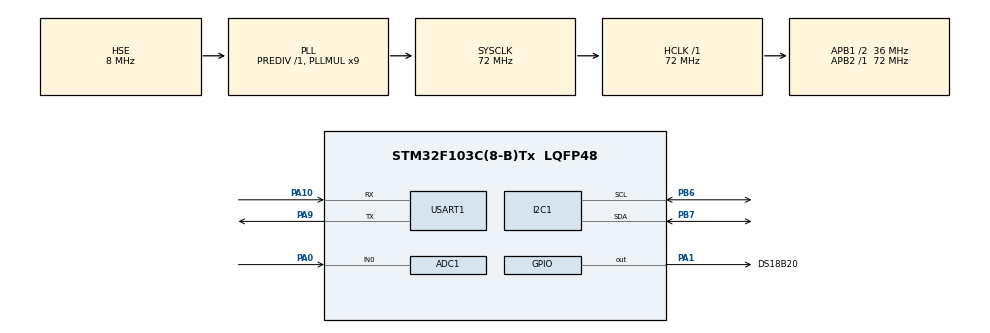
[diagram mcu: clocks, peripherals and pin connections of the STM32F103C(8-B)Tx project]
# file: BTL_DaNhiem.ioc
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ADC1.Channel-0\#ChannelRegularConversion=ADC_CHANNEL_0
ADC1.NbrOfConversionFlag=1
ADC1.Rank-0\#ChannelRegularConversion=1
ADC1.SamplingTime-0\#ChannelRegularConversion=ADC_SAMPLETIME_1CYCLE_5
ADC1.master=1
FREERTOS.Tasks01=Task_Temp,2,512,StartTaskTemp,Default,NULL,Dynamic,NULL,NULL;Task_Soil,0,256,StartTaskSoil,Default,NULL,Dynamic,NULL,NULL;Task_Uart,-1,256,StartTaskUart,Default,NULL,Dynamic,NULL,NULL;Task_LCD,-1,256,StartTaskLCD,Default,NULL,Dynamic,NULL,NULL
FREERTOS.configTOTAL_HEAP_SIZE=8192
Mcu.Family=STM32F1
Mcu.Name=STM32F103C(8-B)Tx
Mcu.Package=LQFP48
NVIC.PriorityGroup=NVIC_PRIORITYGROUP_4
NVIC.TIM1_UP_IRQn=true\:15\:0\:false\:false\:true\:false\:false\:true\:true
NVIC.TimeBase=TIM1_UP_IRQn
NVIC.TimeBaseIP=TIM1
NVIC.USART1_IRQn=true\:5\:0\:false\:false\:true\:true\:true\:true\:true
PA0-WKUP.Signal=ADCx_IN0
PA1.GPIO_Label=DS18B20
PA1.Signal=GPIO_Output
PA10.Mode=Asynchronous
PA10.Signal=USART1_RX
PA13.Mode=Serial_Wire
PA13.Signal=SYS_JTMS-SWDIO
PA14.Mode=Serial_Wire
PA14.Signal=SYS_JTCK-SWCLK
PA9.Mode=Asynchronous
PA9.Signal=USART1_TX
PB6.Mode=I2C
PB6.Signal=I2C1_SCL
PB7.Mode=I2C
PB7.Signal=I2C1_SDA
PD0-OSC_IN.Mode=HSE-External-Oscillator
PD0-OSC_IN.Signal=RCC_OSC_IN
PD1-OSC_OUT.Mode=HSE-External-Oscillator
PD1-OSC_OUT.Signal=RCC_OSC_OUT
ProjectManager.HeapSize=0x200
ProjectManager.StackSize=0x400
ProjectManager.TargetToolchain=STM32CubeIDE
RCC.ADCPresc=RCC_ADCPCLK2_DIV6
RCC.AHBFreq_Value=72000000
RCC.APB1CLKDivider=RCC_HCLK_DIV2
RCC.APB1Freq_Value=36000000
RCC.APB1TimFreq_Value=72000000
RCC.APB2Freq_Value=72000000
RCC.APB2TimFreq_Value=72000000
RCC.HCLKFreq_Value=72000000
RCC.PLLMUL=RCC_PLL_MUL9
RCC.PLLSourceVirtual=RCC_PLLSOURCE_HSE
RCC.SYSCLKFreq_VALUE=72000000
RCC.SYSCLKSource=RCC_SYSCLKSOURCE_PLLCLK
RCC.USBFreq_Value=72000000
SH.ADCx_IN0.0=ADC1_IN0,IN0
USART1.VirtualMode=VM_ASYNC
VP_FREERTOS_VS_CMSIS_V1.Mode=CMSIS_V1
VP_SYS_VS_tim1.Mode=TIM1
board=custom

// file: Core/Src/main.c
/* USER CODE BEGIN Header */
/**
  ******************************************************************************
  * @file           : main.c
  * @brief          : Main program body
  ******************************************************************************
  * @attention
  *
  * Copyright (c) 2026 STMicroelectronics.
  * All rights reserved.
  *
  * This software is licensed under terms that can be found in the LICENSE file
  * in the root directory of this software component.
  * If no LICENSE file comes with this software, it is provided AS-IS.
  *
  ******************************************************************************
  */
/* USER CODE END Header */
#include "main.h"
#include "cmsis_os.h"
#include "adc.h"
#include "i2c.h"
#include "usart.h"
#include "gpio.h"

/* USER CODE BEGIN Includes */
#include <stdio.h>
#include <string.h>
#include "ds18b20.h"
#include "i2c-lcd.h"
/* USER CODE END Includes */

/* USER CODE BEGIN PV */
volatile uint32_t delayTaskTemp = 900;
volatile uint32_t delayTaskLCD = 2000;
volatile uint32_t delayTaskSoil = 1000;
volatile uint32_t delayTaskUart = 2000;
float global_temp = 0.0;
uint16_t global_soil = 0;
uint8_t rx_byte;
char Rx_Buffer[50];
uint8_t Rx_Index = 0;
/* USER CODE END PV */

void SystemClock_Config(void);
void MX_FREERTOS_Init(void);

int main(void)
{

  /* MCU Configuration--------------------------------------------------------*/

  /* Reset of all peripherals, Initializes the Flash interface and the Systick. */
  HAL_Init();

  /* Configure the system clock */
  SystemClock_Config();

  /* Initialize all configured peripherals */
  MX_GPIO_Init();
  MX_ADC1_Init();
  MX_USART1_UART_Init();
  MX_I2C1_Init();
  /* USER CODE BEGIN 2 */
DS18B20_Init(GPIOA, GPIO_PIN_1);
HAL_UART_Receive_IT(&huart1, &rx_byte, 1);
HAL_Delay(1000);
lcd_init();
lcd_clear();
lcd_put_cur(0, 0);
lcd_send_string("Dang khoi dong..");
HAL_Delay(3000);
lcd_clear();
  /* USER CODE END 2 */

  /* Call init function for freertos objects (in cmsis_os2.c) */
  MX_FREERTOS_Init();

  /* Start scheduler */
  osKernelStart();

  /* We should never get here as control is now taken by the scheduler */

  /* Infinite loop */
  while (1)
  {

  }
}

void SystemClock_Config(void)
{
  RCC_OscInitTypeDef RCC_OscInitStruct = {0};
  RCC_ClkInitTypeDef RCC_ClkInitStruct = {0};
  RCC_PeriphCLKInitTypeDef PeriphClkInit = {0};

  /** Initializes the RCC Oscillators according to the specified parameters
  * in the RCC_OscInitTypeDef structure.
  */
  RCC_OscInitStruct.OscillatorType = RCC_OSCILLATORTYPE_HSE;
  RCC_OscInitStruct.HSEState = RCC_HSE_ON;
  RCC_OscInitStruct.HSEPredivValue = RCC_HSE_PREDIV_DIV1;
  RCC_OscInitStruct.HSIState = RCC_HSI_ON;
  RCC_OscInitStruct.PLL.PLLState = RCC_PLL_ON;
  RCC_OscInitStruct.PLL.PLLSource = RCC_PLLSOURCE_HSE;
  RCC_OscInitStruct.PLL.PLLMUL = RCC_PLL_MUL9;
  if (HAL_RCC_OscConfig(&RCC_OscInitStruct) != HAL_OK)
  {
    Error_Handler();
  }

  /** Initializes the CPU, AHB and APB buses clocks
  */
  RCC_ClkInitStruct.ClockType = RCC_CLOCKTYPE_HCLK|RCC_CLOCKTYPE_SYSCLK
                              |RCC_CLOCKTYPE_PCLK1|RCC_CLOCKTYPE_PCLK2;
  RCC_ClkInitStruct.SYSCLKSource = RCC_SYSCLKSOURCE_PLLCLK;
  RCC_ClkInitStruct.AHBCLKDivider = RCC_SYSCLK_DIV1;
  RCC_ClkInitStruct.APB1CLKDivider = RCC_HCLK_DIV2;
  RCC_ClkInitStruct.APB2CLKDivider = RCC_HCLK_DIV1;

  if (HAL_RCC_ClockConfig(&RCC_ClkInitStruct, FLASH_LATENCY_2) != HAL_OK)
  {
    Error_Handler();
  }
  PeriphClkInit.PeriphClockSelection = RCC_PERIPHCLK_ADC;
  PeriphClkInit.AdcClockSelection = RCC_ADCPCLK2_DIV6;
  if (HAL_RCCEx_PeriphCLKConfig(&PeriphClkInit) != HAL_OK)
  {
    Error_Handler();
  }
}

/* USER CODE BEGIN 4 */
void HAL_UART_RxCpltCallback(UART_HandleTypeDef *huart)
{
  if(huart->Instance == USART1)
  {
    if (Rx_Index < 49)
    {
        if (rx_byte != '\n' && rx_byte != '\r' && rx_byte != '!')
        {
            Rx_Buffer[Rx_Index++] = rx_byte;
        }
        else
        {
            Rx_Buffer[Rx_Index] = 0;
            uint32_t value = 0;
            char msg[60];
            if (sscanf(Rx_Buffer, "Change_Temp: %lu", &value) == 1)
            {
                delayTaskTemp = value;
                sprintf(msg, "\r\n>> Changed Temp Delay to %lu ms\r\n", value);
                HAL_UART_Transmit(&huart1, (uint8_t*)msg, strlen(msg), 100);
            }
            else if (sscanf(Rx_Buffer, "Change_Soil: %lu", &value) == 1)
            {
                delayTaskSoil = value;
                sprintf(msg, "\r\n>> Changed Soil Delay to %lu ms\r\n", value);
                HAL_UART_Transmit(&huart1, (uint8_t*)msg, strlen(msg), 100);
            }
            else if (sscanf(Rx_Buffer, "Change_UART: %lu", &value) == 1)
            {
                delayTaskUart = value;
                sprintf(msg, "\r\n>> Changed UART Delay to %lu ms\r\n", value);
                HAL_UART_Transmit(&huart1, (uint8_t*)msg, strlen(msg), 100);
            }
            else if (sscanf(Rx_Buffer, "Change_LCD: %lu", &value) == 1)
            {
                 delayTaskLCD = value;
                 sprintf(msg, "\r\n>> Changed LCD Delay to %lu ms\r\n", value);
                 HAL_UART_Transmit(&huart1, (uint8_t*)msg, strlen(msg), 100);
            }
            Rx_Index = 0;
            memset(Rx_Buffer, 0, 50);
        }
    }
    else
    {
        Rx_Index = 0;
    }
    HAL_UART_Receive_IT(&huart1, &rx_byte, 1);
  }
}
/* USER CODE END 4 */

void HAL_TIM_PeriodElapsedCallback(TIM_HandleTypeDef *htim)
{
  if (htim->Instance == TIM1)
  {
    HAL_IncTick();
  }
}

void Error_Handler(void)
{
  __disable_irq();
  while (1)
  {
  }
}

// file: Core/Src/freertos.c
/* USER CODE BEGIN Header */
/**
  ******************************************************************************
  * File Name          : freertos.c
  * Description        : Code for freertos applications
  ******************************************************************************
  * @attention
  *
  * Copyright (c) 2026 STMicroelectronics.
  * All rights reserved.
  *
  * This software is licensed under terms that can be found in the LICENSE file
  * in the root directory of this software component.
  * If no LICENSE file comes with this software, it is provided AS-IS.
  *
  ******************************************************************************
  */
/* USER CODE END Header */

#include "FreeRTOS.h"
#include "task.h"
#include "main.h"
#include "cmsis_os.h"

/* USER CODE BEGIN Includes */
#include "ds18b20.h"
#include <stdio.h>
#include <string.h>
#include "i2c-lcd.h"

extern UART_HandleTypeDef huart1;
extern ADC_HandleTypeDef hadc1;

extern volatile uint32_t delayTaskTemp;
extern volatile uint32_t delayTaskSoil;
extern volatile uint32_t delayTaskUart;
extern volatile uint32_t delayTaskLCD;
extern volatile float global_temp;
extern volatile uint16_t global_soil;
/* USER CODE END Includes */

osThreadId Task_TempHandle;
osThreadId Task_SoilHandle;
osThreadId Task_UartHandle;
osThreadId Task_LCDHandle;

void StartTaskTemp(void const * argument);
void StartTaskSoil(void const * argument);
void StartTaskUart(void const * argument);
void StartTaskLCD(void const * argument);

void MX_FREERTOS_Init(void); /* (MISRA C 2004 rule 8.1) */

/* GetIdleTaskMemory prototype (linked to static allocation support) */
void vApplicationGetIdleTaskMemory( StaticTask_t **ppxIdleTaskTCBBuffer, StackType_t **ppxIdleTaskStackBuffer, uint32_t *pulIdleTaskStackSize );

/* USER CODE BEGIN GET_IDLE_TASK_MEMORY */
static StaticTask_t xIdleTaskTCBBuffer;
static StackType_t xIdleStack[configMINIMAL_STACK_SIZE];

void vApplicationGetIdleTaskMemory( StaticTask_t **ppxIdleTaskTCBBuffer, StackType_t **ppxIdleTaskStackBuffer, uint32_t *pulIdleTaskStackSize )
{
  *ppxIdleTaskTCBBuffer = &xIdleTaskTCBBuffer;
  *ppxIdleTaskStackBuffer = &xIdleStack[0];
  *pulIdleTaskStackSize = configMINIMAL_STACK_SIZE;
  /* place for user code */
}
/* USER CODE END GET_IDLE_TASK_MEMORY */

void MX_FREERTOS_Init(void) {

  /* Create the thread(s) */
  /* definition and creation of Task_Temp */
  osThreadDef(Task_Temp, StartTaskTemp, osPriorityHigh, 0, 512);
  Task_TempHandle = osThreadCreate(osThread(Task_Temp), NULL);

  /* definition and creation of Task_Soil */
  osThreadDef(Task_Soil, StartTaskSoil, osPriorityNormal, 0, 256);
  Task_SoilHandle = osThreadCreate(osThread(Task_Soil), NULL);

  /* definition and creation of Task_Uart */
  osThreadDef(Task_Uart, StartTaskUart, osPriorityBelowNormal, 0, 256);
  Task_UartHandle = osThreadCreate(osThread(Task_Uart), NULL);

  /* definition and creation of Task_LCD */
  osThreadDef(Task_LCD, StartTaskLCD, osPriorityBelowNormal, 0, 256);
  Task_LCDHandle = osThreadCreate(osThread(Task_LCD), NULL);

}

void StartTaskTemp(void const * argument)
{
  /* USER CODE BEGIN StartTaskTemp */
	char msg[64];
	  sprintf(msg, "StartTask_Temp\r\n");
	  HAL_UART_Transmit(&huart1, (uint8_t*)msg, strlen(msg), 100);
	for(;;)
		  {
		    float temp_val = DS18B20_ReadTemp();
		    if (temp_val > -90.0)
		    {
		        global_temp = temp_val;
		    }
		    else
		    {
		        DS18B20_Init(GPIOA, GPIO_PIN_1);
		    }
		    sprintf(msg, "Task_Temp: Loop\r\n");
		    HAL_UART_Transmit(&huart1, (uint8_t*)msg, strlen(msg), 100);
		    osDelay(delayTaskTemp);
		  }
  /* USER CODE END StartTaskTemp */
}

void StartTaskSoil(void const * argument)
{
  /* USER CODE BEGIN StartTaskSoil */
	char msg[64];
	  sprintf(msg, "StartTask_Soil\r\n");
	  HAL_UART_Transmit(&huart1, (uint8_t*)msg, strlen(msg), 100);
	  /* Infinite loop */
	  for(;;)
	  {
	    HAL_ADC_Start(&hadc1);
	    if (HAL_ADC_PollForConversion(&hadc1, 100) == HAL_OK)
	    {
	        uint32_t raw = HAL_ADC_GetValue(&hadc1);
	        // Quy đổi ra % (ADC 12-bit: 0-4095)
	        // Công thức: 100 - (raw * 100 / 4095)
	        int soil_percent = 100 - (raw * 100 / 4095);
	        if(soil_percent > 100) soil_percent = 100;
	        if(soil_percent < 0) soil_percent = 0;
	        global_soil = (uint16_t)soil_percent;
	    }
	    HAL_ADC_Stop(&hadc1);
	    sprintf(msg, "Task_Soil: Loop\r\n");
	        HAL_UART_Transmit(&huart1, (uint8_t*)msg, strlen(msg), 100);
	    osDelay(delayTaskSoil);
	  }
  /* USER CODE END StartTaskSoil */
}

void StartTaskUart(void const * argument)
{
  /* USER CODE BEGIN StartTaskUart */
	char msg[100];
	sprintf(msg, "StartTask_UART\r\n");
	HAL_UART_Transmit(&huart1, (uint8_t*)msg, strlen(msg), 100);
	  int t_int, t_dec;

	  for(;;)
	  {
	    t_int = (int)global_temp;
	    t_dec = (int)((global_temp - t_int) * 10);
	    if(t_dec < 0) t_dec = -t_dec;
	    sprintf(msg, "Temp: %d.%d | Soil: %d\r\n", t_int, t_dec, global_soil);
	    HAL_UART_Transmit(&huart1, (uint8_t*)msg, strlen(msg), 100);
	    sprintf(msg, "Task_UART: Loop\r\n");
	    HAL_UART_Transmit(&huart1, (uint8_t*)msg, strlen(msg), 100);
	    osDelay(delayTaskUart);
	  }
  /* USER CODE END StartTaskUart */
}

void StartTaskLCD(void const * argument)
{
  /* USER CODE BEGIN StartTaskLCD */
  /* Infinite loop */
  for(;;)
  {
	    char lcd_buffer[50];
	    char msg[64];
	    int t_int, t_dec;
	    sprintf(msg, "StartTask_LCD\r\n");
	    HAL_UART_Transmit(&huart1, (uint8_t*)msg, strlen(msg), 100);
	    /* Infinite loop */
	    for(;;)
	    {
	      t_int = (int)global_temp;
	      t_dec = (int)((global_temp - t_int) * 10);
	      if(t_dec < 0) t_dec = -t_dec;
	      lcd_put_cur(0, 0);
	      sprintf(lcd_buffer, "Temp: %d.%d C   ", t_int, t_dec);
	      lcd_send_string(lcd_buffer);
	      lcd_put_cur(1, 0);
	      sprintf(lcd_buffer, "Soil: %d %%     ", global_soil);
	      lcd_send_string(lcd_buffer);
	      sprintf(msg, "Task_LCD: Loop\r\n");
	      HAL_UART_Transmit(&huart1, (uint8_t*)msg, strlen(msg), 100);
	      osDelay(delayTaskLCD);
	    }
}
  /* USER CODE END StartTaskLCD */
}
